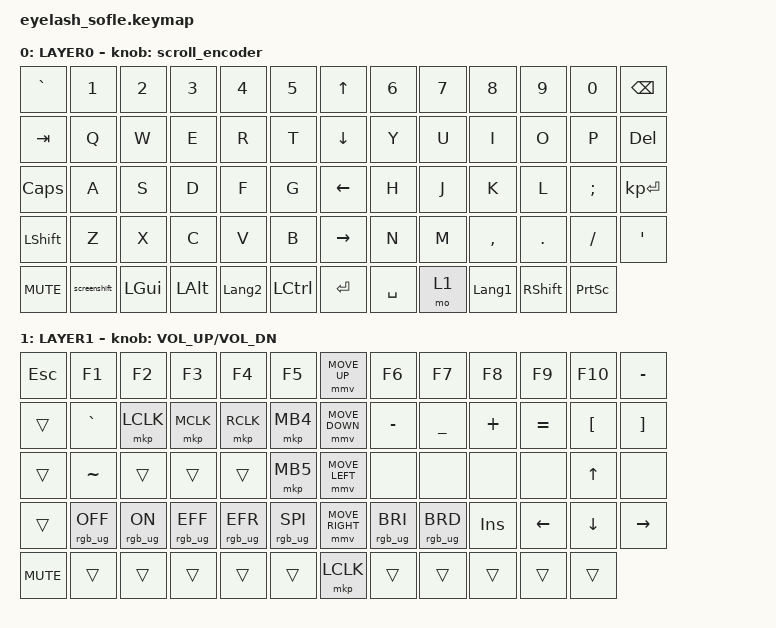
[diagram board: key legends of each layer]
#define ZMK_POINTING_DEFAULT_MOVE_VAL 1200  // 600
#define ZMK_POINTING_DEFAULT_SCRL_VAL 25   // 10

#include <input/processors.dtsi>
#include <zephyr/dt-bindings/input/input-event-codes.h>
#include <behaviors.dtsi>
#include <dt-bindings/zmk/keys.h>
#include <dt-bindings/zmk/pointing.h>
#include <dt-bindings/zmk/rgb.h>

&mmv_input_listener { input-processors = <&zip_xy_scaler 2 1>; };

&msc_input_listener { input-processors = <&zip_scroll_scaler 2 1>; };

&msc {
    acceleration-exponent = <1>;      // 0
    time-to-max-speed-ms = <100>;       // 300
    delay-ms = <0>;                   // 0
};

&mmv {
    time-to-max-speed-ms = <500>;
    acceleration-exponent = <1>;
    trigger-period-ms = <16>;
};

&soft_off { hold-time-ms = <2000>; };

/ {
    scroll_encoder: scroll_encoder {
        compatible = "zmk,behavior-sensor-rotate";
        #sensor-binding-cells = <0>;
        bindings = <&msc SCRL_DOWN>, <&msc SCRL_UP>;

        tap-ms = <100>;
    };

    behaviors {
    };

    combos {
        compatible = "zmk,combos";

        softoff {
            bindings = <&soft_off>;
            key-positions = <14 28 40>;
        };
    };

    macros {
        screenshift: SHIFT_MCLK {
            compatible = "zmk,behavior-macro";
            #binding-cells = <0>;
            bindings =
                <&macro_press>,
                <&kp LEFT_GUI &kp LSHFT>,
                <&macro_tap>,
                <&kp RIGHT>,
                <&macro_release>,
                <&kp LEFT_GUI &kp LSHFT>;

            label = "SHIFT_MCLK";
        };
    };

    keymap {
        compatible = "zmk,keymap";

        layer0 {
            bindings = <
&kp GRAVE   &kp N1        &kp N2        &kp N3        &kp N4          &kp N5       &kp UP_ARROW     &kp N6     &kp N7  &kp N8          &kp N9           &kp N0           &kp BACKSPACE
&kp TAB     &kp Q         &kp W         &kp E         &kp R           &kp T        &kp DOWN_ARROW   &kp Y      &kp U   &kp I           &kp O            &kp P            &kp DELETE
&kp CAPS    &kp A         &kp S         &kp D         &kp F           &kp G        &kp LEFT_ARROW   &kp H      &kp J   &kp K           &kp L            &kp SEMI         &kp KP_ENTER
&kp LSHFT   &kp Z         &kp X         &kp C         &kp V           &kp B        &kp RIGHT_ARROW  &kp N      &kp M   &kp COMMA       &kp DOT          &kp FSLH         &kp SQT
&kp C_MUTE  &screenshift  &kp LEFT_GUI  &kp LEFT_ALT  &kp LANGUAGE_2  &kp LCTRL    &kp ENTER        &kp SPACE  &mo 1   &kp LANGUAGE_1  &kp RIGHT_SHIFT  &kp PRINTSCREEN
            >;

            sensor-bindings = <&scroll_encoder>;
            display-name = "LAYER0";
        };

        layer_1 {
            bindings = <
&kp ESC     &kp F1           &kp F2          &kp F3           &kp F4           &kp F5             &mmv MOVE_UP     &kp F6           &kp F7           &kp F8      &kp F9     &kp F10           &kp MINUS
&trans      &kp GRAVE        &mkp LCLK       &mkp MCLK        &mkp RCLK        &mkp MB4           &mmv MOVE_DOWN   &kp MINUS        &kp UNDERSCORE   &kp PLUS    &kp EQUAL  &kp LEFT_BRACKET  &kp RIGHT_BRACKET
&trans      &kp TILDE        &trans          &trans           &trans           &mkp MB5           &mmv MOVE_LEFT   &none            &none            &none       &none      &kp UP_ARROW      &none
&trans      &rgb_ug RGB_OFF  &rgb_ug RGB_ON  &rgb_ug RGB_EFF  &rgb_ug RGB_EFR  &rgb_ug RGB_SPI    &mmv MOVE_RIGHT  &rgb_ug RGB_BRI  &rgb_ug RGB_BRD  &kp INSERT  &kp LEFT   &kp DOWN_ARROW    &kp RIGHT_ARROW
&kp C_MUTE  &trans           &trans          &trans           &trans           &trans             &mkp LCLK        &trans           &trans           &trans      &trans     &trans
            >;

            sensor-bindings = <&inc_dec_kp C_VOLUME_UP C_VOL_DN>;
            display-name = "LAYER1";
        };
    };
};
